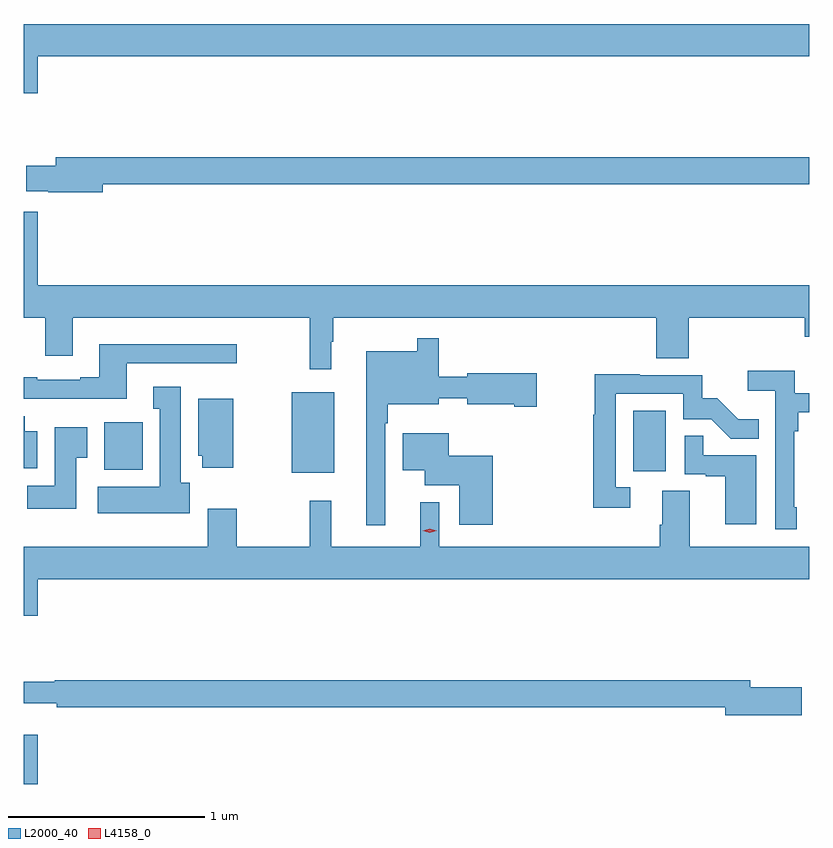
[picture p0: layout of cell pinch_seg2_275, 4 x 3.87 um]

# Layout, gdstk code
import gdstk
lib = gdstk.Library(unit=1e-6, precision=1e-09)
def R(c, l, rs):  # rectangles x0, y0, x1, y1
    for r in rs: c.add(gdstk.rectangle(r[:2], r[2:], *l))
def P(c, l, *ps):  # polygons
    for p in ps: c.add(gdstk.Polygon(p, *l))
L2000_40 = (2000, 40)
L4158_0 = (4158, 0)

pinch_seg2_275 = lib.new_cell('pinch_seg2_275')
R(pinch_seg2_275, L2000_40, [(908.357,631.94,908.428,632.191), (909.722,633.527,909.937,633.937), (911.462,633.534,911.626,633.841), (908.765,633.542,908.962,633.784)])
P(pinch_seg2_275, L2000_40, [(908.428,635.648),(912.357,635.648),(912.357,635.812),(908.357,635.812),(908.357,635.46),(908.428,635.46)],
  [(908.758,634.996),(912.357,634.996),(912.357,635.132),(908.519,635.132),(908.519,635.091),(908.37,635.091),(908.37,634.961),(908.482,634.961),(908.482,634.954),(908.758,634.954)],
  [(909.922,634.193),(909.934,634.193),(909.934,634.316),(911.579,634.316),(911.579,634.108),(911.744,634.108),(911.744,634.316),(912.335,634.316),(912.335,634.218),(912.357,634.218),(912.357,634.48),(908.428,634.48),(908.428,634.855),(908.357,634.855),(908.357,634.316),(908.465,634.316),(908.465,634.122),(908.605,634.122),(908.605,634.316),(909.813,634.316),(909.813,634.053),(909.922,634.053)],
  [(910.197,633.779),(910.21,633.779),(910.21,633.875),(910.471,633.875),(910.471,633.905),(910.616,633.905),(910.616,633.875),(910.856,633.875),(910.856,633.863),(910.969,633.863),(910.969,634.033),(910.616,634.033),(910.616,634.015),(910.471,634.015),(910.471,634.21),(910.362,634.21),(910.362,634.144),(910.1,634.144),(910.1,633.258),(910.197,633.258)],
  [(908.881,634.083),(909.442,634.083),(909.442,634.18),(908.741,634.18),(908.741,634.012),(908.645,634.012),(908.645,633.999),(908.425,633.999),(908.425,634.012),(908.357,634.012),(908.357,633.902),(908.881,633.902)],
  [(912.295,633.349),(912.282,633.349),(912.282,633.737),(912.302,633.737),(912.302,633.833),(912.357,633.833),(912.357,633.93),(912.284,633.93),(912.284,634.046),(912.045,634.046),(912.045,633.944),(912.186,633.944),(912.186,633.237),(912.295,633.237)],
  [(911.446,633.453),(911.373,633.453),(911.373,633.927),(911.715,633.927),(911.715,633.798),(911.859,633.798),(911.957,633.7),(912.101,633.7),(912.101,633.799),(911.997,633.799),(911.89,633.906),(911.814,633.906),(911.814,634.023),(911.495,634.023),(911.495,634.028),(911.265,634.028),(911.265,633.82),(911.257,633.82),(911.257,633.348),(911.446,633.348)],
  [(909.202,633.474),(909.157,633.474),(909.157,633.964),(909.017,633.964),(909.017,633.851),(909.05,633.851),(909.05,633.454),(908.733,633.454),(908.733,633.32),(909.202,633.32)],
  [(909.424,633.904),(909.245,633.904),(909.245,633.612),(909.266,633.612),(909.266,633.552),(909.424,633.552)],
  [(908.425,633.736),(908.362,633.736),(908.362,633.814),(908.357,633.814),(908.357,633.548),(908.425,633.548)],
  [(908.623,633.601),(908.68,633.601),(908.68,633.757),(908.513,633.757),(908.513,633.46),(908.374,633.46),(908.374,633.342),(908.623,633.342)],
  [(910.745,633.613),(910.522,633.613),(910.522,633.727),(910.286,633.727),(910.286,633.539),(910.4,633.539),(910.4,633.461),(910.574,633.461),(910.574,633.261),(910.745,633.261)],
  [(912.088,633.615),(911.819,633.615),(911.819,633.713),(911.724,633.713),(911.724,633.519),(911.831,633.519),(911.831,633.507),(911.93,633.507),(911.93,633.264),(912.088,633.264)],
  [(908.428,632.984),(912.357,632.984),(912.357,633.148),(911.749,633.148),(911.749,633.434),(911.609,633.434),(911.609,633.26),(911.597,633.26),(911.597,633.148),(910.473,633.148),(910.473,633.376),(910.376,633.376),(910.376,633.148),(909.923,633.148),(909.923,633.382),(909.813,633.382),(909.813,633.148),(909.441,633.148),(909.441,633.343),(909.293,633.343),(909.293,633.148),(908.357,633.148),(908.357,632.796),(908.428,632.796)],
  [(912.319,632.432),(912.058,632.432),(912.058,632.468),(908.513,632.468),(908.513,632.461),(908.357,632.461),(908.357,632.351),(908.524,632.351),(908.524,632.332),(911.93,632.332),(911.93,632.29),(912.319,632.29)])
P(pinch_seg2_275, L4158_0, [(910.425,633.221),(910.389,633.23),(910.389,633.231),(910.389,633.231),(910.425,633.241),(910.461,633.231),(910.461,633.231),(910.461,633.23)])

lib.write_gds('pinch_seg2_275.gds')
